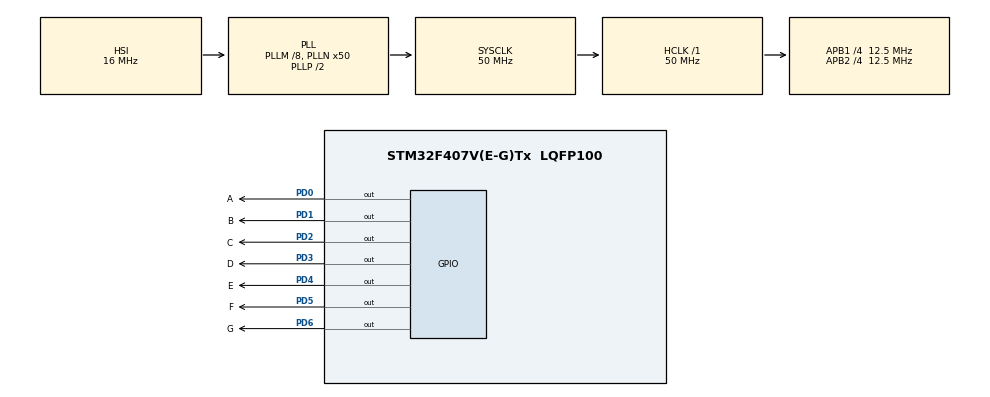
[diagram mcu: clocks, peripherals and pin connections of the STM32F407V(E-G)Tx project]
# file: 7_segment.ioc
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Mcu.Family=STM32F4
Mcu.Name=STM32F407V(E-G)Tx
Mcu.Package=LQFP100
NVIC.PriorityGroup=NVIC_PRIORITYGROUP_0
PD0.GPIO_Label=A
PD0.GPIO_PuPd=GPIO_NOPULL
PD0.Signal=GPIO_Output
PD1.GPIO_Label=B
PD1.Signal=GPIO_Output
PD2.GPIO_Label=C
PD2.Signal=GPIO_Output
PD3.GPIO_Label=D
PD3.Signal=GPIO_Output
PD4.GPIO_Label=E
PD4.Signal=GPIO_Output
PD5.GPIO_Label=F
PD5.Signal=GPIO_Output
PD6.GPIO_Label=G
PD6.Signal=GPIO_Output
PH0-OSC_IN.Mode=HSE-External-Oscillator
PH0-OSC_IN.Signal=RCC_OSC_IN
PH1-OSC_OUT.Mode=HSE-External-Oscillator
PH1-OSC_OUT.Signal=RCC_OSC_OUT
ProjectManager.HeapSize=0x200
ProjectManager.StackSize=0x400
ProjectManager.TargetToolchain=STM32CubeIDE
RCC.48MHZClocksFreq_Value=14285714.285714285
RCC.AHBFreq_Value=50000000
RCC.APB1CLKDivider=RCC_HCLK_DIV4
RCC.APB1Freq_Value=12500000
RCC.APB1TimFreq_Value=25000000
RCC.APB2CLKDivider=RCC_HCLK_DIV4
RCC.APB2Freq_Value=12500000
RCC.APB2TimFreq_Value=25000000
RCC.CortexFreq_Value=50000000
RCC.HCLKFreq_Value=50000000
RCC.HSE_VALUE=8000000
RCC.HSI_VALUE=16000000
RCC.PLLM=8
RCC.PLLN=50
RCC.PLLQ=7
RCC.SYSCLKFreq_VALUE=50000000
RCC.SYSCLKSource=RCC_SYSCLKSOURCE_PLLCLK
RCC.VCOOutputFreq_Value=100000000
board=STM32F407G-DISC1

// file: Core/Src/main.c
/* USER CODE BEGIN Header */
/**
  ******************************************************************************
  * @file           : main.c
  * @brief          : Main program body
  ******************************************************************************
  * @attention
  *
  * Copyright (c) 2026 STMicroelectronics.
  * All rights reserved.
  *
  * This software is licensed under terms that can be found in the LICENSE file
  * in the root directory of this software component.
  * If no LICENSE file comes with this software, it is provided AS-IS.
  *
  ******************************************************************************
  */
/* USER CODE END Header */
#include "main.h"
#define MY_DELAY (500)

void SystemClock_Config(void);
static void MX_GPIO_Init(void);

int main(void)
{

  /* MCU Configuration--------------------------------------------------------*/

  /* Reset of all peripherals, Initializes the Flash interface and the Systick. */
  HAL_Init();

  /* Configure the system clock */
  SystemClock_Config();

  /* Initialize all configured peripherals */
  MX_GPIO_Init();

  /* Infinite loop */
  /* USER CODE BEGIN WHILE */
  while (1)
  {

	  /* USER CODE BEGIN WHILE */
	  while (1)
	  {
	      // Digit 0: A, B, C, D, E, F ON | G OFF
	      HAL_GPIO_WritePin(GPIOD, A_Pin|B_Pin|C_Pin|D_Pin|E_Pin|F_Pin, GPIO_PIN_RESET);
	      HAL_GPIO_WritePin(GPIOD, G_Pin, GPIO_PIN_SET);
	      HAL_Delay(MY_DELAY);

	      // Digit 1: B, C ON | A, D, E, F, G OFF
	      HAL_GPIO_WritePin(GPIOD, B_Pin|C_Pin, GPIO_PIN_RESET);
	      HAL_GPIO_WritePin(GPIOD, A_Pin|D_Pin|E_Pin|F_Pin|G_Pin, GPIO_PIN_SET);
	      HAL_Delay(MY_DELAY);

	      // Digit 2: A, B, D, E, G ON | C, F OFF
	      HAL_GPIO_WritePin(GPIOD, A_Pin|B_Pin|D_Pin|E_Pin|G_Pin, GPIO_PIN_RESET);
	      HAL_GPIO_WritePin(GPIOD, C_Pin|F_Pin, GPIO_PIN_SET);
	      HAL_Delay(MY_DELAY);

	      // Digit 3: A, B, C, D, G ON | E, F OFF
	      HAL_GPIO_WritePin(GPIOD, A_Pin|B_Pin|C_Pin|D_Pin|G_Pin, GPIO_PIN_RESET);
	      HAL_GPIO_WritePin(GPIOD, E_Pin|F_Pin, GPIO_PIN_SET);
	      HAL_Delay(MY_DELAY);

	      // Digit 4: B, C, F, G ON | A, D, E OFF
	      HAL_GPIO_WritePin(GPIOD, B_Pin|C_Pin|F_Pin|G_Pin, GPIO_PIN_RESET);
	      HAL_GPIO_WritePin(GPIOD, A_Pin|D_Pin|E_Pin, GPIO_PIN_SET);
	      HAL_Delay(MY_DELAY);

	      // Digit 5: A, C, D, F, G ON | B, E OFF
	      HAL_GPIO_WritePin(GPIOD, A_Pin|C_Pin|D_Pin|F_Pin|G_Pin, GPIO_PIN_RESET);
	      HAL_GPIO_WritePin(GPIOD, B_Pin|E_Pin, GPIO_PIN_SET);
	      HAL_Delay(MY_DELAY);

	      // Digit 6: A, C, D, E, F, G ON | B OFF
	      HAL_GPIO_WritePin(GPIOD, A_Pin|C_Pin|D_Pin|E_Pin|F_Pin|G_Pin, GPIO_PIN_RESET);
	      HAL_GPIO_WritePin(GPIOD, B_Pin, GPIO_PIN_SET);
	      HAL_Delay(MY_DELAY);

	      // Digit 7: A, B, C ON | D, E, F, G OFF
	      HAL_GPIO_WritePin(GPIOD, A_Pin|B_Pin|C_Pin, GPIO_PIN_RESET);
	      HAL_GPIO_WritePin(GPIOD, D_Pin|E_Pin|F_Pin|G_Pin, GPIO_PIN_SET);
	      HAL_Delay(MY_DELAY);

	      // Digit 8: ALL ON (A, B, C, D, E, F, G)
	      HAL_GPIO_WritePin(GPIOD, A_Pin|B_Pin|C_Pin|D_Pin|E_Pin|F_Pin|G_Pin, GPIO_PIN_RESET);
	      HAL_Delay(MY_DELAY);

	      // Digit 9: A, B, C, D, F, G ON | E OFF
	      HAL_GPIO_WritePin(GPIOD, A_Pin|B_Pin|C_Pin|D_Pin|F_Pin|G_Pin, GPIO_PIN_RESET);
	      HAL_GPIO_WritePin(GPIOD, E_Pin, GPIO_PIN_SET);
	      HAL_Delay(MY_DELAY);

	      /* USER CODE END WHILE */
	  }

    /* USER CODE END WHILE */

  }
}

void SystemClock_Config(void)
{
  RCC_OscInitTypeDef RCC_OscInitStruct = {0};
  RCC_ClkInitTypeDef RCC_ClkInitStruct = {0};

  /** Configure the main internal regulator output voltage
  */
  __HAL_RCC_PWR_CLK_ENABLE();
  __HAL_PWR_VOLTAGESCALING_CONFIG(PWR_REGULATOR_VOLTAGE_SCALE1);

  /** Initializes the RCC Oscillators according to the specified parameters
  * in the RCC_OscInitTypeDef structure.
  */
  RCC_OscInitStruct.OscillatorType = RCC_OSCILLATORTYPE_HSI;
  RCC_OscInitStruct.HSIState = RCC_HSI_ON;
  RCC_OscInitStruct.HSICalibrationValue = RCC_HSICALIBRATION_DEFAULT;
  RCC_OscInitStruct.PLL.PLLState = RCC_PLL_ON;
  RCC_OscInitStruct.PLL.PLLSource = RCC_PLLSOURCE_HSI;
  RCC_OscInitStruct.PLL.PLLM = 8;
  RCC_OscInitStruct.PLL.PLLN = 50;
  RCC_OscInitStruct.PLL.PLLP = RCC_PLLP_DIV2;
  RCC_OscInitStruct.PLL.PLLQ = 7;
  if (HAL_RCC_OscConfig(&RCC_OscInitStruct) != HAL_OK)
  {
    Error_Handler();
  }

  /** Initializes the CPU, AHB and APB buses clocks
  */
  RCC_ClkInitStruct.ClockType = RCC_CLOCKTYPE_HCLK|RCC_CLOCKTYPE_SYSCLK
                              |RCC_CLOCKTYPE_PCLK1|RCC_CLOCKTYPE_PCLK2;
  RCC_ClkInitStruct.SYSCLKSource = RCC_SYSCLKSOURCE_PLLCLK;
  RCC_ClkInitStruct.AHBCLKDivider = RCC_SYSCLK_DIV1;
  RCC_ClkInitStruct.APB1CLKDivider = RCC_HCLK_DIV4;
  RCC_ClkInitStruct.APB2CLKDivider = RCC_HCLK_DIV4;

  if (HAL_RCC_ClockConfig(&RCC_ClkInitStruct, FLASH_LATENCY_1) != HAL_OK)
  {
    Error_Handler();
  }
}

static void MX_GPIO_Init(void)
{
  GPIO_InitTypeDef GPIO_InitStruct = {0};

  /* GPIO Ports Clock Enable */
  __HAL_RCC_GPIOH_CLK_ENABLE();
  __HAL_RCC_GPIOD_CLK_ENABLE();

  /*Configure GPIO pin Output Level */
  HAL_GPIO_WritePin(GPIOD, A_Pin|B_Pin|C_Pin|D_Pin
                          |E_Pin|F_Pin|G_Pin, GPIO_PIN_RESET);

  /*Configure GPIO pins : A_Pin B_Pin C_Pin D_Pin
                           E_Pin F_Pin G_Pin */
  GPIO_InitStruct.Pin = A_Pin|B_Pin|C_Pin|D_Pin
                          |E_Pin|F_Pin|G_Pin;
  GPIO_InitStruct.Mode = GPIO_MODE_OUTPUT_PP;
  GPIO_InitStruct.Pull = GPIO_NOPULL;
  GPIO_InitStruct.Speed = GPIO_SPEED_FREQ_LOW;
  HAL_GPIO_Init(GPIOD, &GPIO_InitStruct);

}

void Error_Handler(void)
{
  __disable_irq();
  while (1)
  {
  }
}
